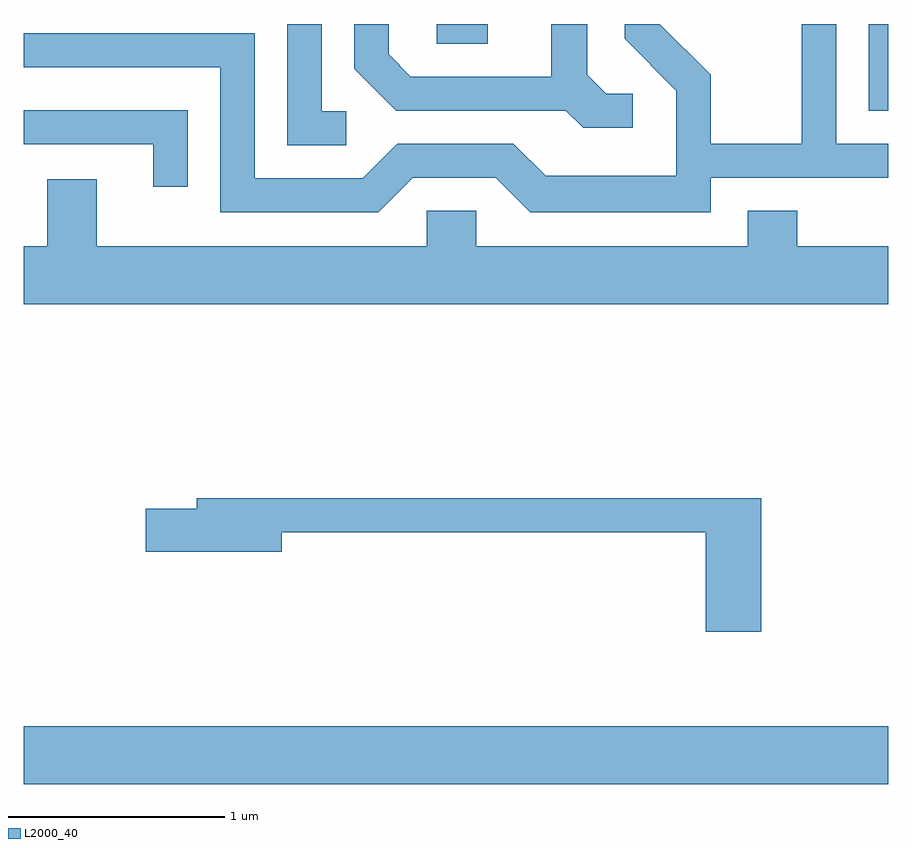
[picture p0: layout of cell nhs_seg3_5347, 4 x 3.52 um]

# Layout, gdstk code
import gdstk
lib = gdstk.Library(unit=1e-6, precision=1e-09)
def R(c, l, rs):  # rectangles x0, y0, x1, y1
    for r in rs: c.add(gdstk.rectangle(r[:2], r[2:], *l))
def P(c, l, *ps):  # polygons
    for p in ps: c.add(gdstk.Polygon(p, *l))
L2000_40 = (2000, 40)

nhs_seg3_5347 = lib.new_cell('nhs_seg3_5347')
R(nhs_seg3_5347, L2000_40, [(341.611,1210.376,345.611,1210.644), (345.521,1213.491,345.611,1213.892), (343.521,1213.801,343.759,1213.892)])
P(nhs_seg3_5347, L2000_40, [(344.428,1213.569),(344.307,1213.569),(344.219,1213.657),(344.219,1213.892),(344.051,1213.892),(344.051,1213.649),(343.402,1213.649),(343.299,1213.752),(343.299,1213.892),(343.141,1213.892),(343.141,1213.684),(343.334,1213.491),(344.119,1213.491),(344.199,1213.411),(344.428,1213.411)],
  [(343.412,1213.181),(343.794,1213.181),(343.954,1213.021),(344.789,1213.021),(344.789,1213.181),(345.611,1213.181),(345.611,1213.339),(345.369,1213.339),(345.369,1213.892),(345.211,1213.892),(345.211,1213.339),(344.789,1213.339),(344.789,1213.657),(344.554,1213.892),(344.391,1213.892),(344.391,1213.824),(344.631,1213.584),(344.631,1213.189),(344.027,1213.189),(343.877,1213.339),(343.339,1213.339),(343.179,1213.179),(342.679,1213.179),(342.679,1213.849),(341.611,1213.849),(341.611,1213.691),(342.521,1213.691),(342.521,1213.021),(343.252,1213.021)],
  [(343.103,1213.489),(342.989,1213.489),(342.989,1213.892),(342.831,1213.892),(342.831,1213.331),(343.103,1213.331)],
  [(342.369,1213.494),(341.611,1213.494),(341.611,1213.336),(342.211,1213.336),(342.211,1213.138),(342.369,1213.138)],
  [(345.611,1212.864),(345.189,1212.864),(345.189,1213.029),(344.961,1213.029),(344.961,1212.864),(343.704,1212.864),(343.704,1213.029),(343.476,1213.029),(343.476,1212.864),(341.949,1212.864),(341.949,1213.174),(341.721,1213.174),(341.721,1212.864),(341.611,1212.864),(341.611,1212.596),(345.611,1212.596)],
  [(345.024,1211.699),(342.411,1211.699),(342.411,1211.649),(342.176,1211.649),(342.176,1211.451),(342.804,1211.451),(342.804,1211.541),(344.766,1211.541),(344.766,1211.081),(345.024,1211.081)])

lib.write_gds('nhs_seg3_5347.gds')
